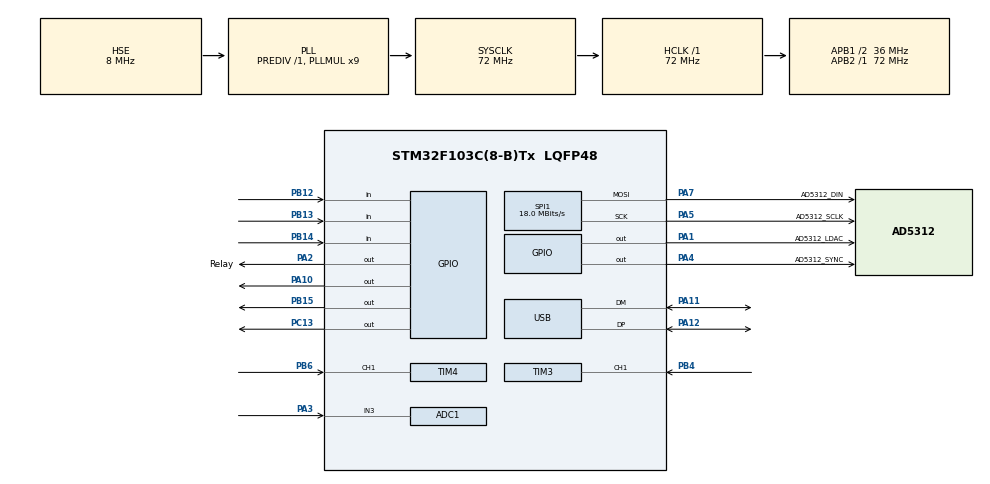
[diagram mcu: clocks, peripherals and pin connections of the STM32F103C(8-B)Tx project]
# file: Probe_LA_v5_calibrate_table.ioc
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Mcu.Family=STM32F1
NVIC.ADC1_2_IRQn=true\:0\:0\:false\:false\:true\:true\:true
USB_DEVICE.CLASS_NAME_FS=CDC
SPI1.VirtualType=VM_MASTER
ADC1.ContinuousConvMode=ENABLE
PA11.Mode=Device
PB13.Signal=GPIO_Input
PB15.Signal=GPIO_Output
RCC.SYSCLKSource=RCC_SYSCLKSOURCE_PLLCLK
ProjectManager.StackSize=0x400
PD1-OSC_OUT.Signal=RCC_OSC_OUT
TIM4.Channel-Input_Capture1_from_TI1=TIM_CHANNEL_1
PA12.Signal=USB_DP
SPI1.Direction=SPI_DIRECTION_2LINES
RCC.HCLKFreq_Value=72000000
SH.ADCx_IN3.0=ADC1_IN3,IN3
RCC.APB2TimFreq_Value=72000000
TIM3.Period=65000-1
PB6.Signal=S_TIM4_CH1
SPI1.CalculateBaudRate=18.0 MBits/s
RCC.AHBFreq_Value=72000000
TIM3.Channel-Input_Capture1_from_TI1=TIM_CHANNEL_1
PB3.Mode=Trace_Asynchronous_SW
RCC.PLLMUL=RCC_PLL_MUL9
PA2.PinState=GPIO_PIN_SET
PA14.Mode=Trace_Asynchronous_SW
TIM3.Prescaler=72-1
SPI1.DataSize=SPI_DATASIZE_16BIT
SPI1.FirstBit=SPI_FIRSTBIT_MSB
SH.S_TIM3_CH1.0=TIM3_CH1,Input_Capture1_from_TI1
TIM4.Period=65000-1
SH.S_TIM3_CH1.1=TIM3_CH1,Input_Capture2_from_TI1
Mcu.Package=LQFP48
PB15.GPIO_PuPd=GPIO_PULLUP
PA2.GPIO_Label=Relay
PA10.Signal=GPIO_Output
SH.S_TIM4_CH1.1=TIM4_CH1,Input_Capture2_from_TI1
SH.S_TIM4_CH1.0=TIM4_CH1,Input_Capture1_from_TI1
RCC.APB1TimFreq_Value=72000000
SPI1.BaudRatePrescaler=SPI_BAUDRATEPRESCALER_4
PA4.GPIO_Label=AD5312_SYNC
PB4.Signal=S_TIM3_CH1
PA3.Signal=ADCx_IN3
PA5.Mode=TX_Only_Simplex_Unidirect_Master
RCC.PLLSourceVirtual=RCC_PLLSOURCE_HSE
PA7.Mode=TX_Only_Simplex_Unidirect_Master
PD1-OSC_OUT.Mode=HSE-External-Oscillator
TIM3.Channel-Input_Capture2_from_TI1=TIM_CHANNEL_2
USB_DEVICE.VirtualModeFS=Cdc_FS
PC13-TAMPER-RTC.Signal=GPIO_Output
RCC.USBPrescaler=RCC_USBCLKSOURCE_PLL_DIV1_5
PD0-OSC_IN.Signal=RCC_OSC_IN
RCC.APB1CLKDivider=RCC_HCLK_DIV2
TIM4.Channel-Input_Capture2_from_TI1=TIM_CHANNEL_2
RCC.ADCPresc=RCC_ADCPCLK2_DIV6
PA13.Signal=SYS_JTMS-SWDIO
TIM4.ICPolarity_CH2=TIM_INPUTCHANNELPOLARITY_FALLING
ProjectManager.TargetToolchain=STM32CubeIDE
VP_USB_DEVICE_VS_USB_DEVICE_CDC_FS.Mode=CDC_FS
ADC1.Channel-1\#ChannelRegularConversion=ADC_CHANNEL_3
RCC.USBFreq_Value=48000000
TIM4.Prescaler=72-1
PA1.Signal=GPIO_Output
PD0-OSC_IN.Mode=HSE-External-Oscillator
PB14.Signal=GPIO_Input
PA5.Signal=SPI1_SCK
board=custom
NVIC.TIM3_IRQn=true\:0\:0\:false\:false\:true\:true\:true
RCC.APB2Freq_Value=72000000
SPI1.Mode=SPI_MODE_MASTER
NVIC.USB_LP_CAN1_RX0_IRQn=true\:0\:0\:false\:false\:true\:false\:true
PA1.GPIO_Label=AD5312_LDAC
TIM3.ICPolarity_CH2=TIM_INPUTCHANNELPOLARITY_FALLING
PA13.Mode=Trace_Asynchronous_SW
Mcu.Name=STM32F103C(8-B)Tx
PA2.Signal=GPIO_Output
PB3.Signal=SYS_JTDO-TRACESWO
PA4.Signal=GPIO_Output
ADC1.SamplingTime-1\#ChannelRegularConversion=ADC_SAMPLETIME_13CYCLES_5
RCC.SYSCLKFreq_VALUE=72000000
PA7.GPIO_Label=AD5312_DIN
ADC1.master=1
PA12.Mode=Device
PA5.GPIO_Label=AD5312_SCLK
ADC1.Rank-1\#ChannelRegularConversion=1
PA11.Signal=USB_DM
PA14.Signal=SYS_JTCK-SWCLK
ProjectManager.HeapSize=0x200
NVIC.PriorityGroup=NVIC_PRIORITYGROUP_4
ADC1.NbrOfConversionFlag=1
TIM3.TIM_MasterOutputTrigger=TIM_TRGO_RESET
PB12.GPIO_PuPd=GPIO_NOPULL
NVIC.TIM4_IRQn=true\:0\:0\:false\:false\:true\:true\:true
RCC.APB1Freq_Value=36000000
VP_CRC_VS_CRC.Mode=CRC_Activate
USB_DEVICE.VirtualMode=Cdc
PB12.Signal=GPIO_Input
PA7.Signal=SPI1_MOSI

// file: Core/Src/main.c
/* USER CODE BEGIN Header */
/**
  ******************************************************************************
  * @file           : main.c
  * @brief          : Main program body
  ******************************************************************************
  * @attention
  *
  * <h2><center>&copy; Copyright (c) 2020 STMicroelectronics.
  * All rights reserved.</center></h2>
  *
  * This software component is licensed by ST under BSD 3-Clause license,
  * the "License"; You may not use this file except in compliance with the
  * License. You may obtain a copy of the License at:
  *                        opensource.org/licenses/BSD-3-Clause
  *
  ******************************************************************************
  */

/*
--------------------------------------------------------------------------
BUG	: В цикле не прерывно идет установка цапов! Формируя цифровой шум. DONE: убарно из цикла
BUG	: Ошибка в работе цап. При переключение в m27 цап принимает значения, но не устанавливет их! DONE: добавлена в библеотеку цап двоойна отправка команды, проблема устранена.
BUG : set 4v-> set 5v -> M27 -> set 4v -> M12 -> set 6v (err:DAC не установил значения, но в ядре значения имеются!!!) DONE: изза ошибки работы ЦАП --> добалена функция отправки значений при устанвоке реле
BUG : Доработать алгоритм установки реле! м.б. добавить в функции реле установку ЦАП по обоим каналам? DONE: Добавлено.
DONE: Добавить серийный номер в щуп
DONE: Добавить калибровочную таблицу в проект через t.py формируется - необходимо заполнять значениями в logic_calibration_table.с
DONE: получить значение V , Поиск по значению напряжения V значение в калибровочной таблице VDAC
--------------------------------------------------------------------------

--> NOW
--------------------------------------------------------------------------
FIXME:Запись в память не работает
TODO: Реализовать прием калибровочной таблицы. 0xOA:Прием калибровочной таблицы [0x0A][1-4][offset][count][data]
TODO: Запись во флеш принятой новой калибровочной таблицы. [0x0D] data: 1B (0x00 - успешно; 0x01 - ошибка при записи)
FIXME:Отправлять длину массива кратно 32b. не работает CRC --> HardFault,
TODO: Реализовать отправку CRC 1-4 таблицы [0x0B][1-4][CRC(1-4)]
TODO: Установка цап реализованно только для канала A и режима m12. Нужно переписать с учетом режима работы. режим работы определяет какую таблицу использовать.
--------------------------------------------------------------------------
TODO: данная реализация плохо отрабатывает! TODO: Нужно переделать на EXTI+TIM
TODO: Проверить первое состоянеи первоначальное состояние реле 27V | RelayState =|1:m12|0:m27|
--------------------------------------------------------------------------
FUTURE: Сформировать калиброчную таблицу через функцию. При остусвтие значения в таблице произвести интерполяцию
--------------------------------------------------------------------------
*/

// Тестовые сборки
#define DEBUG_SWO 			1
#define TEST_UID 			1

#define TEST_DAC 			1
#define TEST_READ_BTN 		1 	//TODO: данная реализация плохо отрабатывает! TODO: Нужно переделать на EXTI+TIM
#define TEST_TIM_CAPTURE 	1
#define TEST_ADC 			1
#define TEST_USB 			1
#define USB_RESET           1
#define TEST_RELAY 			1
#define DWT_INIT 			1

#define TEST_FLASH_TABLE 	1	//FIXME: Запись в память не работает

//--------------------------------------------------------------------------

/* USER CODE END Header */
#include "main.h"
#include "usb_device.h"

/* USER CODE BEGIN Includes */

#include "DAC_AD5322.h"
#include "logic_calibration_table.h"
#include "usbd_cdc_if.h"
#include "string.h"                 // для функции strlen()
#include "stdbool.h"
#include "flash.h"

/* USER CODE END Includes */

ADC_HandleTypeDef hadc1;

CRC_HandleTypeDef hcrc;

SPI_HandleTypeDef hspi1;

TIM_HandleTypeDef htim3;
TIM_HandleTypeDef htim4;

/* USER CODE BEGIN PV */
//--------------------------------------------------------------------------
#if USB_RESET
void USB_Reset(void);
#endif /* USB_RESET */
	//--------------------------------------------------------------------------
/* USER CODE END PV */

void SystemClock_Config(void);
static void MX_GPIO_Init(void);
static void MX_SPI1_Init(void);
static void MX_ADC1_Init(void);
static void MX_TIM3_Init(void);
static void MX_TIM4_Init(void);
static void MX_CRC_Init(void);
/* USER CODE BEGIN PFP */
//**************************************************************************
#if DEBUG_SWO
int _write(int32_t file, uint8_t *ptr, int32_t len)
{
	for (int i = 0; i < len; i++)
	{
		ITM_SendChar(*ptr++);
	}
	return len;
}

#endif /* DEBUG_SWO */
//**************************************************************************
#if TEST_UID
// Чтение UID контроллера
//#define UID_BASE 0x1FFFF7E8
uint16_t *idBase0 = (uint16_t *)(UID_BASE);
uint16_t *idBase1 = (uint16_t *)(UID_BASE + 0x02);
uint32_t *idBase2 = (uint32_t *)(UID_BASE + 0x04);
uint32_t *idBase3 = (uint32_t *)(UID_BASE + 0x08);
char buffer[64] = {
	0,
};
#endif /* TEST_UID */
//**************************************************************************
#if TEST_FLASH_TABLE/*
FLASH_EraseInitTypeDef EraseInitStruct = {  // структура для очистки флеша
        .TypeErase      = FLASH_TYPEERASE_PAGES,
        .PageAddress    = FLASH_TABLE_START_ADDR,
        .NbPages        = 1
};*/

union NVRAM DevNVRAM;
bool changeTableFlag = false;   // TODO тестовый флаг для записи в while
//--------------------------------------------------------------------------
/*
void writeTableInFlash()        // FIXME:Запись в память не работает
{
	volatile uint32_t l_Address = FLASH_TABLE_START_ADDR;
	uint32_t l_Error = 0;
	uint32_t l_Index = 0;
	//Читаем и сравниваем
	while (l_Address < FLASH_TABLE_STOP_ADDR) {
		if ( DevNVRAM.data32[l_Index] != *(uint32_t *)l_Address )
			l_Error++;
		l_Index = l_Index + 1;
		l_Address = l_Address + 4;
	}
	// конфигурация изменилась сохраняем
	printf("Ошибка чтения таблицы :%lu", l_Error);
	if (l_Error > 0) {
		// конфигурация изменилась сохраняем
		// Готовим к записи в память
		HAL_FLASH_Unlock();
		// Очищаем страницу памяти
		if ( HAL_FLASHEx_Erase(&EraseInitStruct, &l_Error) != HAL_OK )
		{
		    printf("ERASE error");
		}
		//Пишем данные в память
		l_Address = FLASH_TABLE_START_ADDR;
		l_Error = 0x00;
		l_Index = 0x00;
		DevNVRAM.sector.NWrite = DevNVRAM.sector.NWrite + 1;
		DevNVRAM.sector.CheckSum = 0; //HAL_CRC_Calculate(&hcrc, &DevNVRAM.calibration_table, (sizeof(DevNVRAM.calibration_table)/4));
		while (l_Address < FLASH_TABLE_STOP_ADDR) {
			if (HAL_FLASH_Program(FLASH_TYPEPROGRAM_WORD, l_Address,
			        DevNVRAM.data32[l_Index]) != HAL_OK)
			    l_Error++;
			l_Address = l_Address + 4;
			l_Index = l_Index + 1;
			HAL_Delay(10);
		}
		HAL_FLASH_Lock();
	}
//	HAL_Delay(100);
}
*/
//--------------------------------------------------------------------------
//FIXME:Отправлять длину массива кратно 32b. не работает CRC --> HardFault,
uint32_t getCRC_table_a_m12()
{
	//	uint16_t len_ = sizeof(aqrr)/(sizeof(uint32_t)*2);
//	uint32_t crc = HAL_CRC_Calculate(&hcrc, (uint32_t*)DevNVRAM.calibration_table.dacValA_m12, sizeof(DevNVRAM.calibration_table.dacValA_m12) / (sizeof(uint32_t) * 2));
    uint32_t crc = HAL_CRC_Calculate(&hcrc, 0x00, 1);
//    for (uint8_t i = 0; i < MAX_VAL_M12; ++i)
//	{
//	    crc = HAL_CRC_Accumulate(&hcrc, DevNVRAM.calibration_table.dacValA_m12[i], 1);
//	}
//	HAL_Delay(1);
	return crc;
}
uint32_t getCRC_table_b_m12()
{
	//	uint16_t len_ = sizeof(aqrr)/(sizeof(uint32_t)*2);
	return HAL_CRC_Calculate(&hcrc, (uint32_t*)DevNVRAM.calibration_table.dacValB_m12, sizeof(DevNVRAM.calibration_table.dacValB_m12) / (sizeof(uint32_t) * 2));
}
uint32_t getCRC_table_a_m27()
{
	//	uint16_t len_ = sizeof(aqrr)/(sizeof(uint32_t)*2);
	return HAL_CRC_Calculate(&hcrc, (uint32_t*)DevNVRAM.calibration_table.dacValA_m27, sizeof(DevNVRAM.calibration_table.dacValA_m27) / (sizeof(uint32_t) * 2));
}
uint32_t getCRC_table_b_m27()
{
	//	uint16_t len_ = sizeof(aqrr)/(sizeof(uint32_t)*2);
	return HAL_CRC_Calculate(&hcrc, (uint32_t*)DevNVRAM.calibration_table.dacValB_m27, sizeof(DevNVRAM.calibration_table.dacValB_m27) / (sizeof(uint32_t) * 2));
}
//--------------------------------------------------------------------------
#endif /* TEST_FLASH_TABLE */
//**************************************************************************
#if TEST_RELAY

bool RelayState = m12; //TODO: проверить первое состояние --> первоначальное состояние реле 27V FIXME: Нужно изменить на m12 и подправить у Йоноса!
#endif /* TEST_RELAY */
//**************************************************************************
#if TEST_DAC
uint16_t VDAC_A = 0;
uint16_t VDAC_B = 0;
//--------------------------------------------------------------------------
//// Старая реализация. для приема dgt значений цап.
// void SetDacA(uint16_t da) {
// 	VDAC_A = da;
// 	DAC_AD5322_Ch2(&hspi1, VDAC_A);
// }
// void SetDacB(uint16_t db) {
// 	VDAC_B = db;
// 	DAC_AD5322_Ch2(&hspi1, VDAC_B);
// }
//void SetAllDAC() {
//	DAC_AD5322_Ch1Ch2(&hspi1,VDAC_A,VDAC_B);
//}
//--------------------------------------------------------------------------
// Новая реализация. для приема значений в напряжениях, с поиском по структуре DevNVRAM выгруженной из памяти.
//TODO: Установка цап реализованно только для канала A и режима m12. Нужно переписать с учетом режима работы. режим работы определяет какую таблицу использовать.
void SetDacA(int16_t va,RelState m)
{
	VDAC_A = volt2dgt(&(DevNVRAM.calibration_table), m ,1, va);
	DAC_AD5322_Ch1(&hspi1, VDAC_A);
}
void SetDacB(int16_t vb, RelState m) //BUG: Не работает. Установка цап реализованно только для канала A и режима m12. Нужно переписать с учетом режима работы. режим работы определяет какую таблицу использовать.
{
	VDAC_B = volt2dgt(&(DevNVRAM.calibration_table),m, 2, vb);
	DAC_AD5322_Ch2(&hspi1, VDAC_B);
}
void SetAllDAC()
{
	DAC_AD5322_Ch1Ch2(&hspi1, VDAC_A, VDAC_B);
}
uint16_t GetDacA()
{
	return VDAC_A;
}
uint16_t GetDacB()
{
	return VDAC_B;
}
#endif /* TEST_DAC */
//**************************************************************************
#if TEST_READ_BTN
#define KEY_LONG_DELAY 1000
//PB12
uint8_t short_state1 = 0;
uint8_t long_state1 = 0;
uint32_t time_key1 = 0;

uint8_t btn1_long_rd = 0;
uint8_t btn1_short_rd = 0;

//PB13
uint8_t short_state2 = 0;
uint8_t long_state2 = 0;
uint32_t time_key2 = 0;

uint8_t btn2_long_rd = 0;
uint8_t btn2_short_rd = 0;

//PB14
uint8_t short_state3 = 0;
uint8_t long_state3 = 0;
uint32_t time_key3 = 0;

uint8_t btn3_long_rd = 0;
uint8_t btn3_short_rd = 0;
//--------------------------------------------------------------------------
uint8_t GetBtnRunState()
{
	// 0x00 - не нажата; 0x01 - короткое нажатие; 0x02 - длительное нажатие
	if (btn1_short_rd == 0x00 && btn1_long_rd == 0x00)
	{
		btn1_long_rd = 0;
		btn1_short_rd = 0;
		return 0x00;
	}
	if (btn1_short_rd == 0x01 && btn1_long_rd == 0x00)
	{
		btn1_long_rd = 0;
		btn1_short_rd = 0;
		return 0x01;
	}
	if (btn1_short_rd == 0x00 && btn1_long_rd == 0x01)
	{
		btn1_long_rd = 0;
		btn1_short_rd = 0;
		return 0x02;
	}

	btn1_long_rd = 0;
	btn1_short_rd = 0;

	//	if (short_state1 == 0x00 && long_state1 == 0x00)	return 0x00;
	//	if (short_state1 == 0x01 && long_state1 == 0x00)	return 0x01;
	//	if (short_state1 == 0x00 && long_state1 == 0x01)	return 0x02;
	return 0x00;
}
//--------------------------------------------------------------------------
uint8_t GetBtnUpState()
{
	// 0x00 - не нажата; 0x01 - короткое нажатие; 0x02 - длительное нажатие
	if (btn2_short_rd == 0x00 && btn2_long_rd == 0x00)
	{
		btn2_long_rd = 0;
		btn2_short_rd = 0;
		return 0x00;
	}
	if (btn2_short_rd == 0x01 && btn2_long_rd == 0x00)
	{
		btn2_long_rd = 0;
		btn2_short_rd = 0;
		return 0x01;
	}
	if (btn2_short_rd == 0x00 && btn2_long_rd == 0x01)
	{
		btn2_long_rd = 0;
		btn2_short_rd = 0;
		return 0x02;
	}

	btn2_long_rd = 0;
	btn2_short_rd = 0;
	//	// 0x00 - не нажата; 0x01 - короткое нажатие; 0x02 - длительное нажатие
	//	if (short_state2 == 0x00 && long_state2 == 0x00)	return 0x00;
	//	if (short_state2 == 0x01 && long_state2 == 0x00)	return 0x01;
	//	if (short_state2 == 0x00 && long_state2 == 0x01)	return 0x02;
	return 0x00;
}
//--------------------------------------------------------------------------
uint8_t GetBtnDownState()
{
	// 0x00 - не нажата; 0x01 - короткое нажатие; 0x02 - длительное нажатие
	if (btn3_short_rd == 0x00 && btn3_long_rd == 0x00)
	{
		btn3_long_rd = 0;
		btn3_short_rd = 0;
		return 0x00;
	}
	if (btn3_short_rd == 0x01 && btn3_long_rd == 0x00)
	{
		btn3_long_rd = 0;
		btn3_short_rd = 0;
		return 0x01;
	}
	if (btn3_short_rd == 0x00 && btn3_long_rd == 0x01)
	{
		btn3_long_rd = 0;
		btn3_short_rd = 0;
		return 0x02;
	}

	btn3_long_rd = 0;
	btn3_short_rd = 0;
	//	if (short_state3 == 0x00 && long_state3 == 0x00)	return 0x00;
	//	if (short_state3 == 0x01 && long_state3 == 0x00)	return 0x01;
	//	if (short_state3 == 0x00 && long_state3 == 0x01)	return 0x02;
	return 0x00;
}
//--------------------------------------------------------------------------

#endif /* TEST_READ_BTN */
//**************************************************************************
#if TEST_TIM_CAPTURE
volatile uint8_t timWork = 0;
volatile uint8_t count_overflowTIM3 = 0;
volatile uint8_t count_overflowTIM4 = 0;

volatile uint16_t g_vTIM3_PB4 = 0;
volatile uint16_t g_vTIM4_PB6 = 0;

// char trans2_str[64] = {
// 	0,
// };
//--------------------------------------------------------------------------
void EnableTIM3_PB4()
{
	timWork = 1;
}
uint16_t GetTIM3()
{
	return g_vTIM3_PB4;
}
void resValTIM3_PB4()
{
	g_vTIM3_PB4 = 0;
}
//--------------------------------------------------------------------------
void EnableTIM4_PB6()
{
	timWork = 0;
}
uint16_t GetTIM4()
{
	return g_vTIM4_PB6;
}
void resValTIM4_PB6()
{
	g_vTIM4_PB6 = 0;
}
//--------------------------------------------------------------------------
void HAL_TIM_IC_CaptureCallback(TIM_HandleTypeDef *htim)
{
	uint16_t periodTIM3, pulseWidthTIM3, periodTIM4, pulseWidthTIM4;

	if (timWork)
	{
		if (htim->Instance == TIM3)
		{
			if (htim->Channel == HAL_TIM_ACTIVE_CHANNEL_1)
			{
				periodTIM3 = HAL_TIM_ReadCapturedValue(&htim3, TIM_CHANNEL_1);
				pulseWidthTIM3 = HAL_TIM_ReadCapturedValue(&htim3,
														   TIM_CHANNEL_2);

				TIM3->CNT = 0;

				int16_t deltaTIM3 = (int16_t)periodTIM3 - (int16_t)pulseWidthTIM3;
				deltaTIM3 = (deltaTIM3 < 0) ? (-1 * deltaTIM3) : deltaTIM3;
				g_vTIM3_PB4 = deltaTIM3;
			}
		}
	}
	else
	{
		if (htim->Instance == TIM4)
		{
			if (htim->Channel == HAL_TIM_ACTIVE_CHANNEL_1)
			{
				periodTIM4 = HAL_TIM_ReadCapturedValue(&htim4, TIM_CHANNEL_1);
				pulseWidthTIM4 = HAL_TIM_ReadCapturedValue(&htim4,
														   TIM_CHANNEL_2);

				TIM4->CNT = 0;

				int16_t deltaTIM4 = (int16_t)periodTIM4 - (int16_t)pulseWidthTIM4;
				deltaTIM4 = (deltaTIM4 < 0) ? (-1 * deltaTIM4) : deltaTIM4;
				g_vTIM4_PB6 = deltaTIM4;
			}
		}
	}
}

#endif /* TEST_TIM_CAPTURE */
//**************************************************************************

/* USER CODE END PFP */

/* USER CODE BEGIN 0 */
//**************************************************************************
#if TEST_ADC
volatile uint16_t g_VADC = 0;

uint16_t GetADC()
{
	return g_VADC;
}
//--------------------------------------------------------------------------
void HAL_ADC_ConvCpltCallback(ADC_HandleTypeDef *hadc)
{
	if (hadc->Instance == ADC1) //check if the interrupt comes from ACD1
	{
		g_VADC = HAL_ADC_GetValue(&hadc1); // глобальная переменна g_VADC вычитывается
	}
}
#endif /* TEST_ADC */
//**************************************************************************
#if USB_RESET
void USB_Reset(void)
{

	/* GPIO Ports Clock Enable */
	__HAL_RCC_GPIOD_CLK_ENABLE();
	__HAL_RCC_GPIOA_CLK_ENABLE();

	// reset USB DP (D+)
	GPIO_InitTypeDef GPIO_InitStruct = {0};

	// инициализируем пин DP как выход
	GPIO_InitStruct.Pin = GPIO_PIN_12;
	GPIO_InitStruct.Mode = GPIO_MODE_OUTPUT_PP;
	GPIO_InitStruct.Speed = GPIO_SPEED_FREQ_LOW;
	HAL_GPIO_Init(GPIOA, &GPIO_InitStruct);
	HAL_GPIO_WritePin(GPIOA, GPIO_PIN_12, GPIO_PIN_RESET); // прижимаем DP к "земле"
	for (uint16_t i = 0; i < 10000; i++)
	{
	}; // немного ждём

	// переинициализируем пин для работы с USB
	GPIO_InitStruct.Mode = GPIO_MODE_INPUT;
	GPIO_InitStruct.Pull = GPIO_NOPULL;
	HAL_GPIO_Init(GPIOA, &GPIO_InitStruct);
	for (uint16_t i = 0; i < 10000; i++)
	{
	}; // немного ждём
}
#endif /* USB_RESET */
//**************************************************************************

#if TEST_USB
void runCommands(uint8_t *Buf, uint32_t *Len) 		// Обработчик USB
/*	command
	0x01 - включение рэле							data: 1B (0x00 - выключить; 0x01 - включить)	answer: 0x01 + 1B status
	0x02 - ЦАП канал А								data: 2B (значение)								answer: 0x02 + 1B status
	0x03 - ЦАП канал B								data: 2B (значение)								answer: 0x03 + 1B status
	0x04 - АЦП запрос значения						data: 0B										answer: 0x04 + 2B value
	0x05 - запрос состояния (Relay, DA, DB)			data: 0B										answer: 0x05 + 1B состиояние рэле + 2B значение ЦАП канал А + 2B значение ЦАП канал B
	0x06 - запрос состояния кнопок (Run, Up, Down)	data: 0B										answer: 0x06 + 1B состояние кнопки Run + 1B состояние кнопки Up + 1B состояние кнопки Down
	0x07 - запрос ID устройства
	("SN+WW+YY+NNN")									data: 0B										answer: 0x07 + 9B ID ("SN+WW+YY+NNN") SN1121001- 11 неделя-21год - 001 порядковый номер изготовления
	0х08 - запрос измеренной длительности			data: 0B (0x00 - сработал; 0x01 - не сработал)	answer: 0x08 + 1B status
	0х09 - запрос измеренной длительности			data: 0B (0x00 - сработал; 0x01 - не сработал)	answer: 0x08 + 1B status
	--------------------------------------------------------------------------
	0х0C - Прием длины калибровочной таблицы [0x0C][Длина][???]				0x00 - сработал; 0x01 - не сработал)	answer: 0x09 + 1B status
	0х0B - Отправка CRC 1-4 таблицы [0x0B][1-4][CRC(1-4)]	answer:
	0х0A - Прием калибровочной таблицы [0x0A][1-4][offset][count][data] 	answer: [0x0A]+[1-4]+[offset]+[count]+[status] (0x00 - сработал; 0x01 - не сработал)
	0х0D - Запись во флеш калибровочной таблицы [0x0D] data: 1B (0x00 - успешно; 0x01 - ошибка при записи)	answer: 0x0D + 1B status
	--------------------------------------------------------------------------
	status
	0x00 - успешно
	0x01 - ошибка
	--------------------------------------------------------------------------
	Калибровка
	На вход щупа подается семетричная пила с частотой 1кГц с оффестом установленным на ип.
	после компарирования сигнала МК измеряет длительность импульса
	т.к. 1 кГц соотвествет длительности в 500 мс то это означает что мы попапали в полуку офсета.
	--------------------------------------------------------------------------*/
{
	if (*Len < 1)
		return;

	//--------------------------------------------------------------------------

	uint8_t UserTxBufferFS[APP_TX_DATA_SIZE];
	uint16_t tVal16;
	uint8_t cmd = Buf[0];
	//--------------------------------------------------------------------------
	if 		(cmd == 0x01)	// Relay:1 - 12V	[0x01 - 0x01]
	{
		if (*Len >= 2 && (Buf[1] == 0x01 || Buf[1] == 0x00))
		{
			if (Buf[1] == 0x01)
			{
				#if TEST_RELAY
				HAL_GPIO_WritePin(Relay_GPIO_Port, Relay_Pin, GPIO_PIN_SET);
				RelayState = m12;
				printf("RelayState:12V - %d \n", RelayState);
				SetAllDAC();
				UserTxBufferFS[0] = cmd;
				UserTxBufferFS[1] = 0x00; // успешно
				CDC_Transmit_FS(UserTxBufferFS, 2);
				#endif /* TEST_RELAY */
				return;
			}
			else if (Buf[1] == 0x00)
			{
				#if TEST_RELAY
				HAL_GPIO_WritePin(Relay_GPIO_Port, Relay_Pin, GPIO_PIN_RESET);
				RelayState = m27;
				printf("RelayState:27V - %d \n", RelayState);
				SetAllDAC();

				UserTxBufferFS[0] = cmd;
				UserTxBufferFS[1] = 0x00; // успешно
				CDC_Transmit_FS(UserTxBufferFS, 2);
				#endif /* TEST_RELAY */
				return;
			}
		}

		UserTxBufferFS[0] = cmd;
		UserTxBufferFS[1] = 0x01; // ошибка
		CDC_Transmit_FS(UserTxBufferFS, 2);
		return;

		//--------------------------------------------------------------------------

	}
	else if (cmd == 0x02)	// DA:4095
	{
		if (*Len >= 3)
		{
			resValTIM3_PB4(); // обнуление переменной для проведения калиброки
			resValTIM4_PB6(); // обнуление переменной для проведения калиброки
			memcpy(&tVal16, Buf + 1, sizeof(tVal16));
			SetDacA(tVal16,RelayState);
//						SetDacA(tVal16);

			printf("DacA: %d\n", tVal16);
			UserTxBufferFS[0] = cmd;
			UserTxBufferFS[1] = 0x00; // успешно

			CDC_Transmit_FS(UserTxBufferFS, 2);
			return;
		}

		UserTxBufferFS[0] = cmd;
		UserTxBufferFS[1] = 0x01; // ошибка
		CDC_Transmit_FS(UserTxBufferFS, 2);
		return;
		//--------------------------------------------------------------------------

	}
	else if (cmd == 0x03)	// DB:4095
	{
		if (*Len >= 3)
		{
			resValTIM3_PB4(); // обнуление переменной для проведения калиброки
			resValTIM4_PB6(); // обнуление переменной для проведения калиброки
			memcpy(&tVal16, Buf + 1, sizeof(tVal16));
//			SetDacB(tVal16);
			SetDacB(tVal16,RelayState);

			UserTxBufferFS[0] = cmd;
			UserTxBufferFS[1] = 0x00; // успешно

			printf("DacB: %d \n", tVal16);

			CDC_Transmit_FS(UserTxBufferFS, 2);
			return;
		}

		UserTxBufferFS[0] = cmd;
		UserTxBufferFS[1] = 0x01; // ошибка
		CDC_Transmit_FS(UserTxBufferFS, 2);
		return;
		//--------------------------------------------------------------------------

	}
	else if (cmd == 0x04)	// ADC?
	{
		tVal16 = GetADC();
		UserTxBufferFS[0] = cmd;
		memcpy(UserTxBufferFS + 1, &tVal16, sizeof(tVal16));
		CDC_Transmit_FS(UserTxBufferFS, 3);
		return;
		//--------------------------------------------------------------------------

	}
	else if (cmd == 0x05)	// Relay?DA?DB?
	{
		UserTxBufferFS[0] = cmd;
		#if TEST_RELAY
		UserTxBufferFS[1] = RelayState;
		#endif /* TEST_RELAY */

		tVal16 = GetDacA();
		memcpy(UserTxBufferFS + 2, &tVal16, sizeof(tVal16));

		tVal16 = GetDacB();
		memcpy(UserTxBufferFS + 4, &tVal16, sizeof(tVal16));

		CDC_Transmit_FS(UserTxBufferFS, 6);
		return;
		//--------------------------------------------------------------------------

	}
	else if (cmd == 0x06)	// Btn?
	{
		UserTxBufferFS[0] = cmd;
		UserTxBufferFS[1] = GetBtnRunState();
		UserTxBufferFS[2] = GetBtnUpState();
		UserTxBufferFS[3] = GetBtnDownState();
		CDC_Transmit_FS(UserTxBufferFS, 4);
		return;
		//--------------------------------------------------------------------------

	// ID?
	} else if (cmd == 0x07) {
		char str[] = "prb_v0.3";
		UserTxBufferFS[0] = cmd;
		UserTxBufferFS[1] = strlen(str);
		memcpy(UserTxBufferFS + 2, str, strlen(str));
		CDC_Transmit_FS(UserTxBufferFS, strlen(str) + 2);
		return;
//	else if (cmd == 0x07)	// ID? норвая реализация с серийным номером
//	{
//		char str[9] = {
//			0,
//		};
//		memcpy(str, "SN", strlen("SN"));
//		itoa(SN_DEFINE, str + 2, 16);
//
//		UserTxBufferFS[0] = cmd;
//		UserTxBufferFS[1] = strlen(str);
//		memcpy(UserTxBufferFS + 2, str, strlen(str));
//		CDC_Transmit_FS(UserTxBufferFS, strlen(str) + 2);
//		return;
	//--------------------------------------------------------------------------
	/* Калибровка
	На вход щупа подается семетричная пила с частотой 1кГц с оффестом установленным на ип.
	после компарирования сигнала МК измеряет длительность импульса
	т.к. 1 кГц соотвествет длительности в 500 мс то это означает что мы попапали в полуку офсета.*/
	//--------------------------------------------------------------------------
	}
	else if (cmd == 0x08)	// Калибровка TIM inHL?
	{
		EnableTIM3_PB4();
		uint16_t temp = GetTIM3();
		UserTxBufferFS[0] = cmd;
		memcpy(UserTxBufferFS + 1, &temp, sizeof(uint16_t));
		CDC_Transmit_FS(UserTxBufferFS, 1 + sizeof(uint16_t));
		return;
	//--------------------------------------------------------------------------
	}
	else if (cmd == 0x09)	// Калибровка TIM inLL?
	{
		EnableTIM4_PB6();
		uint16_t temp = GetTIM4();
		UserTxBufferFS[0] = cmd;
		memcpy(UserTxBufferFS + 1, &temp, sizeof(uint16_t));
		CDC_Transmit_FS(UserTxBufferFS, 1 + sizeof(uint16_t));
		return;
	//--------------------------------------------------------------------------
	}
	else if (cmd == 0x0A)	// TODO: Прием калибровочной таблицы [0x0A][1-4][offset][count][data] 	answer: [0x0A]+[1-4]+[offset]+[count]+[status] (0x00 - сработал; 0x01 - не сработал)
	{
		//Прием калибровочной таблицы [0x0A][1-4][offset][count][data]
		//FIXME: За одну посылку можно получить максимум 64 byte. Нужно организовать пакетную передачу
		uint16_t tOffset, tCount, tData;
		if (*Len >= 2 && Buf[1] >= 0x00 && Buf[1] <= 0x03)
		{
			if 		(Buf[1] == 0x00)	//А_m12
			{
				/*
				u8 Buf[0] = 0x0A
				u8 Buf[1] = 0x01-0x04
				---------------------
				u16 Buf[2] = offset u8
				    Buf[3] = offset u8
				----------------------
				u16 Buf[4] = count u8
					Buf[5] = count u8
				----------------------
				u16 Buf[6] = data1 u8
					Buf[7] = data1 u8
				----------------------
				...
				u16 Buf[count] = data[n-1]  u8
					Buf[count] = data[n] 	u8
				*/
				memcpy(&tOffset, Buf + 2, sizeof(uint16_t));
				memcpy(&tCount, Buf + 2 + sizeof(uint16_t), sizeof(uint16_t));

				for (uint16_t i = 0; i < tCount; i++)
				{
					memcpy(&tData, Buf + 2 + 2 * sizeof(uint16_t) + i * 2, sizeof(uint16_t));
					DevNVRAM.calibration_table.dacValA_m12[i + tOffset] = tData;
				}

				changeTableFlag = true;

				//answer: [0x0A]+[1-4]+[offset]+[count]+[status] (0x00 - сработал; 0x01 - не сработал)
				/*
				u8 	Buf[0] = 0x0A
				u8	Buf[1] = 0x01-0x04	// Номер таблицы
				---------------------
				u16 Buf[2] = offset u8
				    Buf[3] = offset u8
				----------------------
				u16 Buf[4] = count u8
					Buf[5] = count u8
				----------------------
				u8	Buf[6] = status u8	(0x00 - сработал; 0x01 - не сработал)
				----------------------
				*/
				UserTxBufferFS[0] = cmd;												  //1			->1
				UserTxBufferFS[1] = 0x01;												  //1			->2
				memcpy(UserTxBufferFS + 2, &tOffset, sizeof(uint16_t));					  //2+2			->4
				memcpy(UserTxBufferFS + 2 + sizeof(uint16_t), &tCount, sizeof(uint16_t)); //2+2+2		->6
				UserTxBufferFS[2 + 2 * sizeof(uint16_t) + 1] = 0x00;					  //2+2*2+1		->7

				CDC_Transmit_FS(UserTxBufferFS, sizeof(UserTxBufferFS[2 + 2 * sizeof(uint16_t) + 1]));
				return;
				//--------------------------------------------------------------------------
			}
			//--------------------------------------------------------------------------
			else if (Buf[1] == 0x01)	//B_m12
			{
				/*
				u8 Buf[0] = 0x0A
				u8 Buf[1] = 0x01-0x04
				---------------------
				u16 Buf[2] = offset u8
				    Buf[3] = offset u8
				----------------------
				u16 Buf[4] = count u8
					Buf[5] = count u8
				----------------------
				u16 Buf[6] = data1 u8
					Buf[7] = data1 u8
				----------------------
				...
				u16 Buf[count] = data[n-1]  u8
					Buf[count] = data[n] 	u8
				*/
				memcpy(&tOffset, Buf + 2, sizeof(uint16_t));
				memcpy(&tCount, Buf + 2 + sizeof(uint16_t), sizeof(uint16_t));

				for (uint16_t i = 0; i < tCount; i++)
				{
					memcpy(&tData, Buf + 2 + 2 * sizeof(uint16_t) + i * 2, sizeof(uint16_t));
					DevNVRAM.calibration_table.dacValB_m12[i + tOffset] = tData;
				}

				//answer: [0x0A]+[1-4]+[offset]+[count]+[status] (0x00 - сработал; 0x01 - не сработал)
				/*
				u8 	Buf[0] = 0x0A
				u8	Buf[1] = 0x01-0x04	// Номер таблицы
				---------------------
				u16 Buf[2] = offset u8
				    Buf[3] = offset u8
				----------------------
				u16 Buf[4] = count u8
					Buf[5] = count u8
				----------------------
				u8	Buf[6] = status u8	(0x00 - сработал; 0x01 - не сработал)
				----------------------
				*/
				UserTxBufferFS[0] = cmd;												  //1			->1
				UserTxBufferFS[1] = 0x01;												  //1			->2
				memcpy(UserTxBufferFS + 2, &tOffset, sizeof(uint16_t));					  //2+2		->4
				memcpy(UserTxBufferFS + 2 + sizeof(uint16_t), &tCount, sizeof(uint16_t)); //2+2+2		->6
				UserTxBufferFS[2 + 2 * sizeof(uint16_t) + 1] = 0x00;					  //2+2*2+1	->7

				CDC_Transmit_FS(UserTxBufferFS, sizeof(UserTxBufferFS[2 + 2 * sizeof(uint16_t) + 1]));
				return;
				//--------------------------------------------------------------------------
			}
			//--------------------------------------------------------------------------
			else if (Buf[1] == 0x02)	//A_m27
			{
				/*
				u8 Buf[0] = 0x0A
				u8 Buf[1] = 0x01-0x04
				---------------------
				u16 Buf[2] = offset u8
				    Buf[3] = offset u8
				----------------------
				u16 Buf[4] = count u8
					Buf[5] = count u8
				----------------------
				u16 Buf[6] = data1 u8
					Buf[7] = data1 u8
				----------------------
				...
				u16 Buf[count] = data[n-1]  u8
					Buf[count] = data[n] 	u8
				*/
				memcpy(&tOffset, Buf + 2, sizeof(uint16_t));
				memcpy(&tCount, Buf + 2 + sizeof(uint16_t), sizeof(uint16_t));

				for (uint16_t i = 0; i < tCount; i++)
				{
					memcpy(&tData, Buf + 2 + 2 * sizeof(uint16_t) + i * 2, sizeof(uint16_t));
					DevNVRAM.calibration_table.dacValA_m27[i + tOffset] = tData;
				}

				//answer: [0x0A]+[1-4]+[offset]+[count]+[status] (0x00 - сработал; 0x01 - не сработал)
				/*
				u8 	Buf[0] = 0x0A
				u8	Buf[1] = 0x01-0x04	// Номер таблицы
				---------------------
				u16 Buf[2] = offset u8
				    Buf[3] = offset u8
				----------------------
				u16 Buf[4] = count u8
					Buf[5] = count u8
				----------------------
				u8	Buf[6] = status u8	(0x00 - сработал; 0x01 - не сработал)
				----------------------
				*/
				UserTxBufferFS[0] = cmd;												  //1			->1
				UserTxBufferFS[1] = 0x01;												  //1			->2
				memcpy(UserTxBufferFS + 2, &tOffset, sizeof(uint16_t));					  //2+2		->4
				memcpy(UserTxBufferFS + 2 + sizeof(uint16_t), &tCount, sizeof(uint16_t)); //2+2+2		->6
				UserTxBufferFS[2 + 2 * sizeof(uint16_t) + 1] = 0x00;					  //2+2*2+1	->7

				CDC_Transmit_FS(UserTxBufferFS, sizeof(UserTxBufferFS[2 + 2 * sizeof(uint16_t) + 1]));
				return;
				//--------------------------------------------------------------------------
			}
			//--------------------------------------------------------------------------
			else if (Buf[1] == 0x03)	//B_m27
			{
				/*
				u8 Buf[0] = 0x0A
				u8 Buf[1] = 0x01-0x04
				---------------------
				u16 Buf[2] = offset u8
				    Buf[3] = offset u8
				----------------------
				u16 Buf[4] = count u8
					Buf[5] = count u8
				----------------------
				u16 Buf[6] = data1 u8
					Buf[7] = data1 u8
				----------------------
				...
				u16 Buf[count] = data[n-1]  u8
					Buf[count] = data[n] 	u8
				*/
				memcpy(&tOffset, Buf + 2, sizeof(uint16_t));
				memcpy(&tCount, Buf + 2 + sizeof(uint16_t), sizeof(uint16_t));

				for (uint16_t i = 0; i < tCount; i++)
				{
					memcpy(&tData, Buf + 2 + 2 * sizeof(uint16_t) + i * 2, sizeof(uint16_t));
					DevNVRAM.calibration_table.dacValB_m27[i + tOffset] = tData;
				}

				//answer: [0x0A]+[1-4]+[offset]+[count]+[status] (0x00 - сработал; 0x01 - не сработал)
				/*
				u8 	Buf[0] = 0x0A
				u8	Buf[1] = 0x01-0x04	// Номер таблицы
				---------------------
				u16 Buf[2] = offset u8
				    Buf[3] = offset u8
				----------------------
				u16 Buf[4] = count u8
					Buf[5] = count u8
				----------------------
				u8	Buf[6] = status u8	(0x00 - сработал; 0x01 - не сработал)
				----------------------
				*/
				UserTxBufferFS[0] = cmd;												  //1			->1
				UserTxBufferFS[1] = 0x01;												  //1			->2
				memcpy(UserTxBufferFS + 2, &tOffset, sizeof(uint16_t));					  //2+2		->4
				memcpy(UserTxBufferFS + 2 + sizeof(uint16_t), &tCount, sizeof(uint16_t)); //2+2+2		->6
				UserTxBufferFS[2 + 2 * sizeof(uint16_t) + 1] = 0x00;					  //2+2*2+1	->7

				CDC_Transmit_FS(UserTxBufferFS, sizeof(UserTxBufferFS[2 + 2 * sizeof(uint16_t) + 1]));
				return;
				//--------------------------------------------------------------------------
			}
			//--------------------------------------------------------------------------
		}
		UserTxBufferFS[0] = cmd;
		UserTxBufferFS[1] = 0x01; // ошибка
		CDC_Transmit_FS(UserTxBufferFS, 2);
		return;
		//--------------------------------------------------------------------------
	}
	else if (cmd == 0x0B)	// TODO: Отправка CRC 1-4 таблицы [0x0B][1-4][CRC(1-4)]	answer:
	{
		return;
	//--------------------------------------------------------------------------
	}
	else if (cmd == 0x0C)	// TODO: Прием длины калибровочной таблицы [0x0C][Длина][???]
	{
		return;
	//--------------------------------------------------------------------------
	}
	else if (cmd == 0x0D)	// TODO: Запись во флеш калибровочной таблицы [0x0D] data: 1B (0x00 - успешно; 0x01 - ошибка при записи)	answer: 0x0D + 1B status
	{
		if (*Len >= 2 && (Buf[1] == 0x02))
		{
			//TODO: Функция записи фо флеш. FIXME: не работает запись фо флеш!
			 changeTableFlag = true;
			// writeTableInFlash();
			printf("changeTableFlag = true!");
			UserTxBufferFS[0] = cmd;
			UserTxBufferFS[1] = 0x00; // успешно
			CDC_Transmit_FS(UserTxBufferFS, 2);
			return;
		}

		//--------------------------------------------------------------------------
		UserTxBufferFS[0] = cmd;
		UserTxBufferFS[1] = 0x01; // ошибка
		CDC_Transmit_FS(UserTxBufferFS, 2);
		return;
		//--------------------------------------------------------------------------
	}
//-------------------------------------------------------------------------

}
#endif /* TEST_USB */
//**************************************************************************
/* USER CODE END 0 */

int main(void)
{
  /* USER CODE BEGIN 1 */

//	writeTableInFlash();

  /* USER CODE END 1 */

  /* MCU Configuration--------------------------------------------------------*/

  /* Reset of all peripherals, Initializes the Flash interface and the Systick. */
  HAL_Init();

  /* USER CODE BEGIN Init */
//--------------------------------------------------------------------------
#if DWT_INIT
	DWT_Init();
#endif /* DWT_INIT */
	   //--------------------------------------------------------------------------

	//--------------------------------------------------------------------------

  /* USER CODE END Init */

  /* Configure the system clock */
  SystemClock_Config();

  /* USER CODE BEGIN SysInit */

//--------------------------------------------------------------------------

//-------------------------------------------------------------------------

  /* USER CODE END SysInit */

  /* Initialize all configured peripherals */
  MX_GPIO_Init();
  MX_SPI1_Init();
  MX_USB_DEVICE_Init();
  MX_ADC1_Init();
  MX_TIM3_Init();
  MX_TIM4_Init();
  MX_CRC_Init();
  /* USER CODE BEGIN 2 */
	//**************************************************************************
#if TEST_UID
	sprintf(buffer, "UID %x-%x-%lx-%lx\n", *idBase0, *idBase1, *idBase2, *idBase3);
	printf(buffer);
#endif /* TEST_UID */

	//**************************************************************************
#if TEST_TIM_CAPTURE
	HAL_TIM_IC_Start_IT(&htim3, TIM_CHANNEL_1);
	HAL_TIM_IC_Start_IT(&htim3, TIM_CHANNEL_2);
	HAL_TIM_IC_Start_IT(&htim4, TIM_CHANNEL_1);
	HAL_TIM_IC_Start_IT(&htim4, TIM_CHANNEL_2);
#endif /* TEST_TIM_CAPTURE */
//--------------------------------------------------------------------------
#if TEST_DAC
	SetAllDAC();
#endif /* TEST_DAC */
	   //**************************************************************************
#if TEST_ADC
	HAL_ADCEx_Calibration_Start(&hadc1);
	HAL_ADC_Start_IT(&hadc1);

#endif /* TEST_ADC */
//**************************************************************************
#if TEST_FLASH_TABLE

//	flash_fill_calibTable();
	crete_calibration_table(&DevNVRAM.calibration_table);
	flash_write_calibTable();
//	SetDacA(2080,m12);
//	SetDacA(3120,m12);
	SetDacA(2400,m12);
	SetDacA(3120,m12);
	SetDacB(2400,m12);
	SetDacB(3120,m12);

	SetDacA(2400,m27);
	SetDacA(3120,m27);
	SetDacB(2400,m27);
	SetDacB(3120,m27);
//	SetDacB(2080,m12);
//	SetDacB(3120,m12);
//
//	SetDacA(27000,m27);
//	SetDacA(2400,m27);
//	SetDacA(0,m27);
///*

	// Чтение DevNVRAM
//    volatile uint32_t l_Address = FLASH_TABLE_START_ADDR;
//    uint32_t l_Error = 0;
//    uint32_t l_Index = 0;

	/*
    while (l_Address < FLASH_TABLE_STOP_ADDR)
    {
        DevNVRAM.data32[l_Index] = *(__IO uint32_t *)l_Address;
        l_Index = l_Index + 1;
        l_Address = l_Address + 4;
    }

//--------------------------------------------------------------------------
    // если после чтения майджик кей не найден, то это первый запуск

    if (DevNVRAM.calibration_table.MagicNum != 0)
    {
        // Подгbотовка
        // Заносим типовые значения
        // TODO: !!!!!Добавить математику расчета калибровочной таблицы!!!!!!!
        memset(DevNVRAM.data32, 0xCA, sizeof(DevNVRAM.data32));

        // ЗАГЛУШКА
        for (uint8_t i = 0; i < MAX_VAL_M12; i++)
        {
            DevNVRAM.calibration_table.dacValA_m12[i] = i;
        }
        for (uint8_t i = 0; i < MAX_VAL_M12; i++)
        {
            DevNVRAM.calibration_table.dacValB_m12[i] = i;
        }
        for (uint8_t i = 0; i < MAX_VAL_M27; i++)
        {
            DevNVRAM.calibration_table.dacValA_m27[i] = i;
        }
        for (uint8_t i = 0; i < MAX_VAL_M27; i++)
        {
            DevNVRAM.calibration_table.dacValB_m12[i] = i;
        }

        crete_calibration_table(&DevNVRAM.calibration_table);

        DevNVRAM.calibration_table.Hardwire = 0x06;
        DevNVRAM.calibration_table.Firmware = 0x05;
        DevNVRAM.calibration_table.SN = 0x1121001; //11 недел	я + год + порядковый номер изготовления
        DevNVRAM.calibration_table.MagicNum = MAGIC_KEY_DEFINE;

        DevNVRAM.sector.NWrite = 0;

        DevNVRAM.sector.CheckSum = 0; //HAL_CRC_Calculate(&hcrc, &DevNVRAM.calibration_table, (sizeof(DevNVRAM.calibration_table)/4));//DONE: нужно отправлять длину кратную 32b! -  по какой то причине в этом проекте не работает CRC!!!

        //--------------------------------------------------------------------------
        //если после чтения майджик кей не найден, то это первый запуск записываем дефолтную таблицу
        l_Address = FLASH_TABLE_START_ADDR;
        l_Error = 0;
        l_Index = 0;

        while (l_Address < FLASH_TABLE_STOP_ADDR)
        {
            if (DevNVRAM.data32[l_Index] != *(__IO uint32_t *)l_Address)
            {
                l_Error++;
            }
            l_Index = l_Index + 1;
            l_Address = l_Address + 4;
        }

        if (l_Error > 0)
        { // конфигурация изменилась сохраняем
            // Готовим к записи в память
            HAL_FLASH_Unlock();
            // Очищаем страницу памяти
            HAL_FLASHEx_Erase(&EraseInitStruct, &l_Error);
            //Пишем данные в память
            l_Address = FLASH_TABLE_START_ADDR;
            l_Error = 0x00;
            l_Index = 0x00;

            while (l_Address < FLASH_TABLE_STOP_ADDR)
            {
                if (HAL_FLASH_Program(FLASH_TYPEPROGRAM_WORD, l_Address,
                                      DevNVRAM.data32[l_Index]) != HAL_OK)
                {
                    l_Error++;
                }

                l_Address = l_Address + 4;
                l_Index = l_Index + 1;
                HAL_Delay(10);
            }
            HAL_FLASH_Lock();
        }

    } //если после чтения майджик кей не найден, то это первый запуск записываем дефолтную таблицу
    // TODO: Надо по запросе какая версия калиброчной табцы высылать значения дефолтной таблице...
    //--------------------------------------------------------------------------
*/
#endif /* TEST_FLASH_TABLE */

	uint32_t _timer = 0; // для таймера в 10 сек

//**************************************************************************
  /* USER CODE END 2 */

  /* Infinite loop */
  /* USER CODE BEGIN WHILE */
	while (1)
	{
		// Циклически проверяем соотвествует ли информация в памяти массиву настроек?
		if ((HAL_GetTick() - _timer) > 10000) // интервал  10сек
		{
#if TEST_FLASH_TABLE
/*
			if (changeTableFlag)
			{
				changeTableFlag = false;
				printf("write");
				// Циклически проверяем соотвествует ли информация в памяти массиву настроек?

				l_Address = FLASH_TABLE_START_ADDR;
				l_Error = 0;
				l_Index = 0;
				//Читаем и сравниваем
				while (l_Address < FLASH_TABLE_STOP_ADDR)
				{
					if (DevNVRAM.data32[l_Index] != *(__IO uint32_t *)l_Address)
					{
						l_Error++;
					}
					l_Index = l_Index + 1;
					l_Address = l_Address + 4;
				}

				if (l_Error > 0)
				{ // конфигурация изменилась сохраняем
					// Готовим к записи в память
					HAL_FLASH_Unlock();
					// Очищаем страницу памяти
					HAL_FLASHEx_Erase(&EraseInitStruct, &l_Error);
					//Пишем данные в память
					l_Address = FLASH_TABLE_START_ADDR;
					l_Error = 0x00;
					l_Index = 0x00;

					DevNVRAM.sector.NWrite = DevNVRAM.sector.NWrite + 1;
					DevNVRAM.sector.CheckSum = 0; //HAL_CRC_Calculate(&hcrc, &DevNVRAM.calibration_table, (sizeof(DevNVRAM.calibration_table)/4));

					while (l_Address < FLASH_TABLE_STOP_ADDR)
					{
						if (HAL_FLASH_Program(FLASH_TYPEPROGRAM_WORD, l_Address,
											  DevNVRAM.data32[l_Index]) != HAL_OK)
						{
							l_Error++;
						}

						l_Address = l_Address + 4;
						l_Index = l_Index + 1;
						HAL_Delay(10);
					}
					HAL_FLASH_Lock();
				}
				HAL_Delay(100);
				//--------------------------------------------------------------------------
				printf("flash done");
			}*/
#endif /* TEST_FLASH_TABLE */
			_timer = HAL_GetTick();
		}

//**************************************************************************
#if TEST_READ_BTN //TODO: данная реализация плохо отрабатывает! TODO: Нужно переделать на EXTI+TIM

		uint32_t ms = HAL_GetTick();
		uint8_t key1_state = HAL_GPIO_ReadPin(GPIOB, GPIO_PIN_12); // подставить свой пин //TODO: Проверить работу BACK key!

		if (key1_state == 0 && !short_state1 && (ms - time_key1) > 50)
		{
			short_state1 = 1;
			long_state1 = 0;
			time_key1 = ms;
		}
		else if (key1_state == 0 && !long_state1 && (ms - time_key1) > KEY_LONG_DELAY)
		{
			long_state1 = 1;
			// действие на длинное нажатие
			btn1_long_rd = 1;
		}
		else if (key1_state == 1 && short_state1 && (ms - time_key1) > 50)
		{
			short_state1 = 0;
			time_key1 = ms;

			if (!long_state1)
			{
				// действие на короткое нажатие
				btn1_short_rd = 1;
			}
		}
		uint8_t key2_state = HAL_GPIO_ReadPin(GPIOB, GPIO_PIN_13); // подставить свой пин

		if (key2_state == 0 && !short_state2 && (ms - time_key2) > 50)
		{
			short_state2 = 1;
			long_state2 = 0;
			time_key2 = ms;
		}
		else if (key2_state == 0 && !long_state2 && (ms - time_key2) > KEY_LONG_DELAY)
		{
			long_state2 = 1;

			// действие на длинное нажатие
			btn2_long_rd = 1;
		}
		else if (key2_state == 1 && short_state2 && (ms - time_key2) > 50)
		{
			short_state2 = 0;
			time_key2 = ms;

			if (!long_state2)
			{
				// действие на короткое нажатие
				btn2_short_rd = 1;
			}
		}

		uint8_t key3_state = HAL_GPIO_ReadPin(GPIOB, GPIO_PIN_14); // подставить свой пин
		if (key3_state == 0 && !short_state3 && (ms - time_key3) > 50)
		{
			short_state3 = 1;
			long_state3 = 0;
			time_key3 = ms;
		}
		else if (key3_state == 0 && !long_state3 && (ms - time_key3) > KEY_LONG_DELAY)
		{
			long_state3 = 1;
			// действие на длинное нажатие
			btn3_long_rd = 1;
		}
		else if (key3_state == 1 && short_state3 && (ms - time_key3) > 50)
		{
			short_state3 = 0;
			time_key3 = ms;

			if (!long_state3)
			{
				// действие на короткое нажатие
				btn3_short_rd = 1;
			}
		}

#endif	/* TEST_READ_BTN */
		//**************************************************************************

		//--------------------------------------------------------------------------

    /* USER CODE END WHILE */

	}
}

void SystemClock_Config(void)
{
  RCC_OscInitTypeDef RCC_OscInitStruct = {0};
  RCC_ClkInitTypeDef RCC_ClkInitStruct = {0};
  RCC_PeriphCLKInitTypeDef PeriphClkInit = {0};

  /** Initializes the RCC Oscillators according to the specified parameters
  * in the RCC_OscInitTypeDef structure.
  */
  RCC_OscInitStruct.OscillatorType = RCC_OSCILLATORTYPE_HSE;
  RCC_OscInitStruct.HSEState = RCC_HSE_ON;
  RCC_OscInitStruct.HSEPredivValue = RCC_HSE_PREDIV_DIV1;
  RCC_OscInitStruct.HSIState = RCC_HSI_ON;
  RCC_OscInitStruct.PLL.PLLState = RCC_PLL_ON;
  RCC_OscInitStruct.PLL.PLLSource = RCC_PLLSOURCE_HSE;
  RCC_OscInitStruct.PLL.PLLMUL = RCC_PLL_MUL9;
  if (HAL_RCC_OscConfig(&RCC_OscInitStruct) != HAL_OK)
  {
    Error_Handler();
  }
  /** Initializes the CPU, AHB and APB buses clocks
  */
  RCC_ClkInitStruct.ClockType = RCC_CLOCKTYPE_HCLK|RCC_CLOCKTYPE_SYSCLK
                              |RCC_CLOCKTYPE_PCLK1|RCC_CLOCKTYPE_PCLK2;
  RCC_ClkInitStruct.SYSCLKSource = RCC_SYSCLKSOURCE_PLLCLK;
  RCC_ClkInitStruct.AHBCLKDivider = RCC_SYSCLK_DIV1;
  RCC_ClkInitStruct.APB1CLKDivider = RCC_HCLK_DIV2;
  RCC_ClkInitStruct.APB2CLKDivider = RCC_HCLK_DIV1;

  if (HAL_RCC_ClockConfig(&RCC_ClkInitStruct, FLASH_LATENCY_2) != HAL_OK)
  {
    Error_Handler();
  }
  PeriphClkInit.PeriphClockSelection = RCC_PERIPHCLK_ADC|RCC_PERIPHCLK_USB;
  PeriphClkInit.AdcClockSelection = RCC_ADCPCLK2_DIV6;
  PeriphClkInit.UsbClockSelection = RCC_USBCLKSOURCE_PLL_DIV1_5;
  if (HAL_RCCEx_PeriphCLKConfig(&PeriphClkInit) != HAL_OK)
  {
    Error_Handler();
  }
}

static void MX_ADC1_Init(void)
{

  ADC_ChannelConfTypeDef sConfig = {0};

  /** Common config
  */
  hadc1.Instance = ADC1;
  hadc1.Init.ScanConvMode = ADC_SCAN_DISABLE;
  hadc1.Init.ContinuousConvMode = ENABLE;
  hadc1.Init.DiscontinuousConvMode = DISABLE;
  hadc1.Init.ExternalTrigConv = ADC_SOFTWARE_START;
  hadc1.Init.DataAlign = ADC_DATAALIGN_RIGHT;
  hadc1.Init.NbrOfConversion = 1;
  if (HAL_ADC_Init(&hadc1) != HAL_OK)
  {
    Error_Handler();
  }
  /** Configure Regular Channel
  */
  sConfig.Channel = ADC_CHANNEL_3;
  sConfig.Rank = ADC_REGULAR_RANK_1;
  sConfig.SamplingTime = ADC_SAMPLETIME_13CYCLES_5;
  if (HAL_ADC_ConfigChannel(&hadc1, &sConfig) != HAL_OK)
  {
    Error_Handler();
  }

}

static void MX_CRC_Init(void)
{

  hcrc.Instance = CRC;
  if (HAL_CRC_Init(&hcrc) != HAL_OK)
  {
    Error_Handler();
  }

}

static void MX_SPI1_Init(void)
{

  /* SPI1 parameter configuration*/
  hspi1.Instance = SPI1;
  hspi1.Init.Mode = SPI_MODE_MASTER;
  hspi1.Init.Direction = SPI_DIRECTION_2LINES;
  hspi1.Init.DataSize = SPI_DATASIZE_16BIT;
  hspi1.Init.CLKPolarity = SPI_POLARITY_LOW;
  hspi1.Init.CLKPhase = SPI_PHASE_1EDGE;
  hspi1.Init.NSS = SPI_NSS_SOFT;
  hspi1.Init.BaudRatePrescaler = SPI_BAUDRATEPRESCALER_4;
  hspi1.Init.FirstBit = SPI_FIRSTBIT_MSB;
  hspi1.Init.TIMode = SPI_TIMODE_DISABLE;
  hspi1.Init.CRCCalculation = SPI_CRCCALCULATION_DISABLE;
  hspi1.Init.CRCPolynomial = 10;
  if (HAL_SPI_Init(&hspi1) != HAL_OK)
  {
    Error_Handler();
  }

}

static void MX_TIM3_Init(void)
{

  TIM_MasterConfigTypeDef sMasterConfig = {0};
  TIM_IC_InitTypeDef sConfigIC = {0};

  htim3.Instance = TIM3;
  htim3.Init.Prescaler = 72-1;
  htim3.Init.CounterMode = TIM_COUNTERMODE_UP;
  htim3.Init.Period = 65000-1;
  htim3.Init.ClockDivision = TIM_CLOCKDIVISION_DIV1;
  htim3.Init.AutoReloadPreload = TIM_AUTORELOAD_PRELOAD_DISABLE;
  if (HAL_TIM_IC_Init(&htim3) != HAL_OK)
  {
    Error_Handler();
  }
  sMasterConfig.MasterOutputTrigger = TIM_TRGO_RESET;
  sMasterConfig.MasterSlaveMode = TIM_MASTERSLAVEMODE_DISABLE;
  if (HAL_TIMEx_MasterConfigSynchronization(&htim3, &sMasterConfig) != HAL_OK)
  {
    Error_Handler();
  }
  sConfigIC.ICPolarity = TIM_INPUTCHANNELPOLARITY_RISING;
  sConfigIC.ICSelection = TIM_ICSELECTION_DIRECTTI;
  sConfigIC.ICPrescaler = TIM_ICPSC_DIV1;
  sConfigIC.ICFilter = 0;
  if (HAL_TIM_IC_ConfigChannel(&htim3, &sConfigIC, TIM_CHANNEL_1) != HAL_OK)
  {
    Error_Handler();
  }
  sConfigIC.ICPolarity = TIM_INPUTCHANNELPOLARITY_FALLING;
  sConfigIC.ICSelection = TIM_ICSELECTION_INDIRECTTI;
  if (HAL_TIM_IC_ConfigChannel(&htim3, &sConfigIC, TIM_CHANNEL_2) != HAL_OK)
  {
    Error_Handler();
  }

}

static void MX_TIM4_Init(void)
{

  TIM_MasterConfigTypeDef sMasterConfig = {0};
  TIM_IC_InitTypeDef sConfigIC = {0};

  htim4.Instance = TIM4;
  htim4.Init.Prescaler = 72-1;
  htim4.Init.CounterMode = TIM_COUNTERMODE_UP;
  htim4.Init.Period = 65000-1;
  htim4.Init.ClockDivision = TIM_CLOCKDIVISION_DIV1;
  htim4.Init.AutoReloadPreload = TIM_AUTORELOAD_PRELOAD_DISABLE;
  if (HAL_TIM_IC_Init(&htim4) != HAL_OK)
  {
    Error_Handler();
  }
  sMasterConfig.MasterOutputTrigger = TIM_TRGO_RESET;
  sMasterConfig.MasterSlaveMode = TIM_MASTERSLAVEMODE_DISABLE;
  if (HAL_TIMEx_MasterConfigSynchronization(&htim4, &sMasterConfig) != HAL_OK)
  {
    Error_Handler();
  }
  sConfigIC.ICPolarity = TIM_INPUTCHANNELPOLARITY_RISING;
  sConfigIC.ICSelection = TIM_ICSELECTION_DIRECTTI;
  sConfigIC.ICPrescaler = TIM_ICPSC_DIV1;
  sConfigIC.ICFilter = 0;
  if (HAL_TIM_IC_ConfigChannel(&htim4, &sConfigIC, TIM_CHANNEL_1) != HAL_OK)
  {
    Error_Handler();
  }
  sConfigIC.ICPolarity = TIM_INPUTCHANNELPOLARITY_FALLING;
  sConfigIC.ICSelection = TIM_ICSELECTION_INDIRECTTI;
  if (HAL_TIM_IC_ConfigChannel(&htim4, &sConfigIC, TIM_CHANNEL_2) != HAL_OK)
  {
    Error_Handler();
  }

}

static void MX_GPIO_Init(void)
{
  GPIO_InitTypeDef GPIO_InitStruct = {0};

  /* GPIO Ports Clock Enable */
  __HAL_RCC_GPIOC_CLK_ENABLE();
  __HAL_RCC_GPIOD_CLK_ENABLE();
  __HAL_RCC_GPIOA_CLK_ENABLE();
  __HAL_RCC_GPIOB_CLK_ENABLE();

  // reset USB DP (D+)
  // инициализируем пин DP как выход
  GPIO_InitStruct.Pin = GPIO_PIN_12;
  GPIO_InitStruct.Mode = GPIO_MODE_OUTPUT_PP;
  GPIO_InitStruct.Speed = GPIO_SPEED_FREQ_LOW;
  HAL_GPIO_Init(GPIOA, &GPIO_InitStruct);
  HAL_GPIO_WritePin(GPIOA, GPIO_PIN_12, GPIO_PIN_RESET); // прижимаем DP к "земле"
  for(uint16_t i = 0; i < 10000; i++) {}; // немного ждём

  // переинициализируем пин для работы с USB
  GPIO_InitStruct.Mode = GPIO_MODE_INPUT;
  GPIO_InitStruct.Pull = GPIO_NOPULL;
  HAL_GPIO_Init(GPIOA, &GPIO_InitStruct);
  for(uint16_t i = 0; i < 10000; i++) {}; // немного ждём

  /*Configure GPIO pin Output Level */
  HAL_GPIO_WritePin(GPIOC, GPIO_PIN_13, GPIO_PIN_RESET);

  /*Configure GPIO pin Output Level */
  HAL_GPIO_WritePin(GPIOA, AD5312_LDAC_Pin|AD5312_SYNC_Pin|GPIO_PIN_10, GPIO_PIN_RESET);

  /*Configure GPIO pin Output Level */
  HAL_GPIO_WritePin(Relay_GPIO_Port, Relay_Pin, GPIO_PIN_SET);

  /*Configure GPIO pin Output Level */
  HAL_GPIO_WritePin(GPIOB, GPIO_PIN_15, GPIO_PIN_RESET);

  /*Configure GPIO pin : PC13 */
  GPIO_InitStruct.Pin = GPIO_PIN_13;
  GPIO_InitStruct.Mode = GPIO_MODE_OUTPUT_PP;
  GPIO_InitStruct.Pull = GPIO_NOPULL;
  GPIO_InitStruct.Speed = GPIO_SPEED_FREQ_LOW;
  HAL_GPIO_Init(GPIOC, &GPIO_InitStruct);

  /*Configure GPIO pins : AD5312_LDAC_Pin Relay_Pin AD5312_SYNC_Pin PA10 */
  GPIO_InitStruct.Pin = AD5312_LDAC_Pin|Relay_Pin|AD5312_SYNC_Pin|GPIO_PIN_10;
  GPIO_InitStruct.Mode = GPIO_MODE_OUTPUT_PP;
  GPIO_InitStruct.Pull = GPIO_NOPULL;
  GPIO_InitStruct.Speed = GPIO_SPEED_FREQ_LOW;
  HAL_GPIO_Init(GPIOA, &GPIO_InitStruct);

  /*Configure GPIO pin : PB12 */
  GPIO_InitStruct.Pin = GPIO_PIN_12;
  GPIO_InitStruct.Mode = GPIO_MODE_INPUT;
  GPIO_InitStruct.Pull = GPIO_PULLUP;
  HAL_GPIO_Init(GPIOB, &GPIO_InitStruct);

  /*Configure GPIO pins : PB13 PB14 */
  GPIO_InitStruct.Pin = GPIO_PIN_13|GPIO_PIN_14;
  GPIO_InitStruct.Mode = GPIO_MODE_INPUT;
  GPIO_InitStruct.Pull = GPIO_NOPULL;
  HAL_GPIO_Init(GPIOB, &GPIO_InitStruct);

  /*Configure GPIO pin : PB15 */
  GPIO_InitStruct.Pin = GPIO_PIN_15;
  GPIO_InitStruct.Mode = GPIO_MODE_OUTPUT_PP;
  GPIO_InitStruct.Pull = GPIO_PULLUP;
  GPIO_InitStruct.Speed = GPIO_SPEED_FREQ_LOW;
  HAL_GPIO_Init(GPIOB, &GPIO_InitStruct);

}

/* USER CODE BEGIN 4 */

#if USB_RESET
// После перегенерации в Кубе добавить USB_Reset(); в функцию MX_GPIO_Init(void) (после ...CLK_ENABLE(); )
#endif /* USB_RESET */
/* USER CODE END 4 */

void Error_Handler(void)
{
}

#ifdef  USE_FULL_ASSERT
/**
  * @brief  Reports the name of the source file and the source line number
  *         where the assert_param error has occurred.
  * @param  file: pointer to the source file name
  * @param  line: assert_param error line source number
  * @retval None
  */
void assert_failed(uint8_t *file, uint32_t line)
{
  /* USER CODE BEGIN 6 */
	/* User can add his own implementation to report the file name and line number,
     tex: printf("Wrong parameters value: file %s on line %d\r\n", file, line) */
	//	 printf("Wrong parameters value: file %s on line %d\r\n", file, line);
  /* USER CODE END 6 */
}
#endif /* USE_FULL_ASSERT */

/************************ (C) COPYRIGHT STMicroelectronics *****END OF FILE****/
